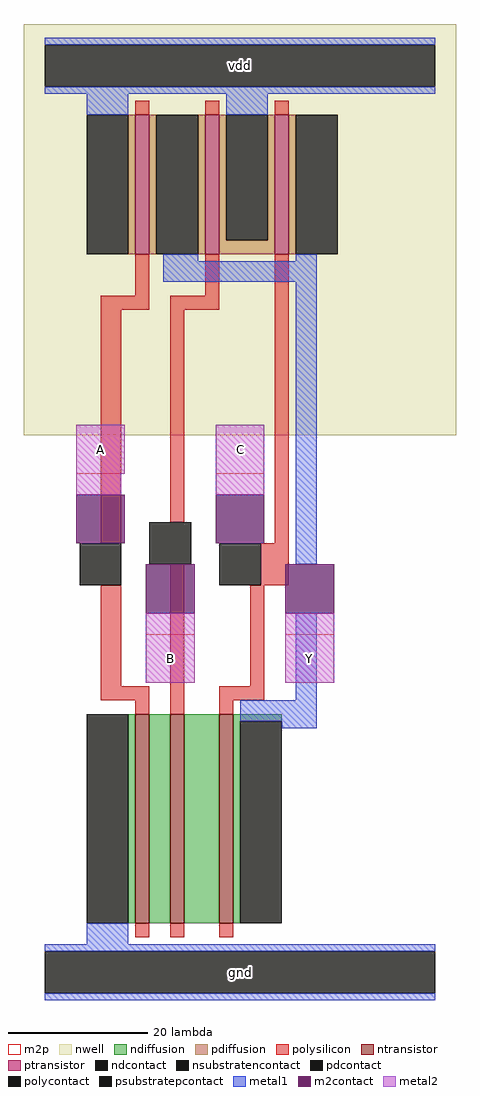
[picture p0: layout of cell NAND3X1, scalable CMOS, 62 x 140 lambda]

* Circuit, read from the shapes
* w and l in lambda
.subckt NAND3X1 A B C Y vdd gnd
M1 n1 A gnd gnd nfet w=30 l=2
M2 n2 B n1 gnd nfet w=30 l=2
M3 Y C n2 gnd nfet w=30 l=2
M4 Y A vdd vdd pfet w=20 l=2
M5 vdd B Y vdd pfet w=20 l=2
M6 Y C vdd vdd pfet w=20 l=2
.ends

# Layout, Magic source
magic
tech scmos
magscale 1 2
<< nwell >>
rect -12 154 112 272
<< ntransistor >>
rect 20 14 24 74
rect 30 14 34 74
rect 44 14 48 74
<< ptransistor >>
rect 20 206 24 246
rect 40 206 44 246
rect 60 206 64 246
<< ndiffusion >>
rect 18 14 20 74
rect 24 14 30 74
rect 34 14 44 74
rect 48 72 62 74
rect 48 14 50 72
<< pdiffusion >>
rect 18 206 20 246
rect 24 206 26 246
rect 38 206 40 246
rect 44 210 46 246
rect 58 210 60 246
rect 44 206 60 210
rect 64 206 66 246
<< ndcontact >>
rect 6 14 18 74
rect 50 14 62 72
<< pdcontact >>
rect 6 206 18 246
rect 26 206 38 246
rect 46 210 58 246
rect 66 206 78 246
<< psubstratepcontact >>
rect -6 -6 106 6
<< nsubstratencontact >>
rect -6 254 106 266
<< polysilicon >>
rect 20 246 24 250
rect 40 246 44 250
rect 60 246 64 250
rect 20 194 24 206
rect 40 194 44 206
rect 10 190 24 194
rect 30 190 44 194
rect 10 123 16 190
rect 30 129 34 190
rect 60 123 64 206
rect 10 82 16 111
rect 10 78 24 82
rect 20 74 24 78
rect 30 74 34 117
rect 56 111 64 123
rect 53 82 57 111
rect 44 78 57 82
rect 44 74 48 78
rect 20 10 24 14
rect 30 10 34 14
rect 44 10 48 14
<< polycontact >>
rect 4 111 16 123
rect 24 117 36 129
rect 44 111 56 123
<< metal1 >>
rect -6 266 106 268
rect -6 252 106 254
rect 6 246 18 252
rect 46 246 58 252
rect 28 204 38 206
rect 66 204 72 206
rect 28 198 72 204
rect 66 117 72 198
rect 66 78 72 103
rect 50 72 72 78
rect 62 70 72 72
rect 6 8 18 14
rect -6 6 106 8
rect -6 -8 106 -6
<< m2contact >>
rect 3 123 17 137
rect 43 123 57 137
rect 23 103 37 117
rect 63 103 77 117
<< metal2 >>
rect 3 143 17 157
rect 3 137 16 143
rect 43 137 57 157
rect 23 83 37 103
rect 63 83 77 103
<< m2p >>
rect 3 143 17 157
rect 43 143 57 157
rect 23 83 37 97
rect 63 83 77 97
<< labels >>
rlabel metal2 3 143 17 157 0 A
port 0 nsew signal input
rlabel metal2 23 83 37 97 0 B
port 1 nsew signal input
rlabel metal2 43 143 57 157 0 C
port 2 nsew signal input
rlabel metal2 63 83 77 97 0 Y
port 3 nsew signal output
rlabel metal1 -6 252 106 268 0 vdd
port 4 nsew power bidirectional abutment
rlabel metal1 -6 -8 106 8 0 gnd
port 5 nsew ground bidirectional abutment
<< properties >>
string FIXED_BBOX 0 0 100 260
string LEFclass CORE
string LEFsite core
string LEFsymmetry X Y
<< end >>
